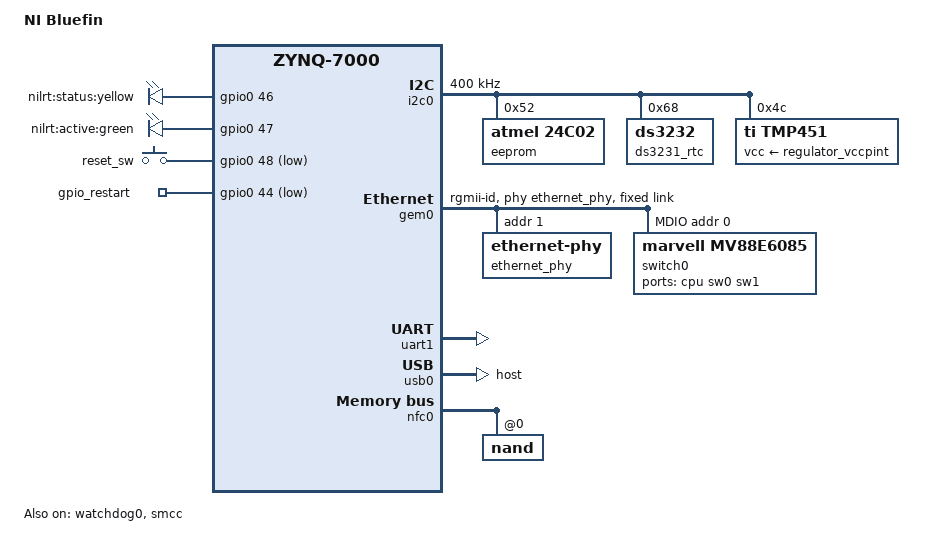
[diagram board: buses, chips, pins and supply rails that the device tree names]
/dts-v1/;
/include/ "ni-zynq.dtsi"

/* NIDEVCODE 78C7 */
/* NIDEVCODE 78B9 */

/ {
	model = "NI Bluefin";
	compatible = "ni,zynq", "xlnx,zynq-7000";

	leds {
		compatible = "gpio-leds";

		/* LED_STATUSy on GPIO46 */
		status {
			label = "nilrt:status:yellow";
			gpios = <&gpio0 46 0>;
			default-state = "on";
		};

		/* LED_ACTIVEg on GPIO47 */
		active {
			label = "nilrt:active:green";
			gpios = <&gpio0 47 0>;
			default-state = "off";
		};
	};

	gpio_keys {
		compatible = "gpio-keys";
		#address-cells = <1>;
		#size-cells = <0>;

		/* Reset switch is on GPIO48 */
		reset_sw@0 {
			label = "reset_sw";
			gpios = <&gpio0 48 1 /* GPIO_ACTIVE_LOW */>;
			linux,code = <408>; /* KEY_RESTART */
			gpio-key,wakeup;
		};
	};

	gpio_restart {
		compatible = "gpio-restart";

		/* ~PS_FORCE_RESET is on GPIO44 */
		gpios = <&gpio0 44 1 /* GPIO_ACTIVE_LOW */>;
		priority = <200>;
	};
};

&i2c0 {
	status = "okay";
	clock-frequency = <400000>;

	eeprom: eeprom@52 {
		compatible = "atmel,24c02";
		status = "okay";
		reg = <0x52>;
	};

	ds3231_rtc@68 {
		compatible = "ds3232";
		status = "okay";
		reg = <0x68>;
	};

	tmp451@4c {
		compatible = "ti,tmp451";
		status = "okay";
		reg = <0x4c>;
		vcc-supply = <&regulator_vccpint>;
	};
};

&gem0 {
	status = "okay";
	#address-cells = <1>;
	#size-cells = <0>;
	phy-mode = "rgmii-id";
	phy-handle = <&ethernet_phy>;

	ethernet_phy: ethernet-phy@1 {
		reg = <1>;
		device_type = "ethernet-phy";
	};

	mdio0: mdio {
		status = "okay";
		#address-cells = <1>;
		#size-cells = <0>;

		switch0: switch@0 {
			compatible = "marvell,mv88e6085";
			reg = <0>;

			ports {
				#address-cells = <1>;
				#size-cells = <0>;
	
				port@0 {
					reg = <0>;
					label = "cpu";
				};
	
				port@1 {
					reg = <1>;
					label = "sw0";
				};
	
				port@2 {
					reg = <2>;
					label = "sw1";
				};
			};
		};
	};

	fixed-link {
		speed = <1000>;
		full-duplex;
	};
};

&uart1 {
	status = "okay";
};

&usb0 {
	status = "okay";
	dr_mode = "host";
};

&watchdog0 {
	status = "okay";
	reset-on-timeout;
};

&nfc0 {
	status = "okay";

	nand@0 {
		reg = <0>;
	};
};

&smcc {
	status = "okay";
};
